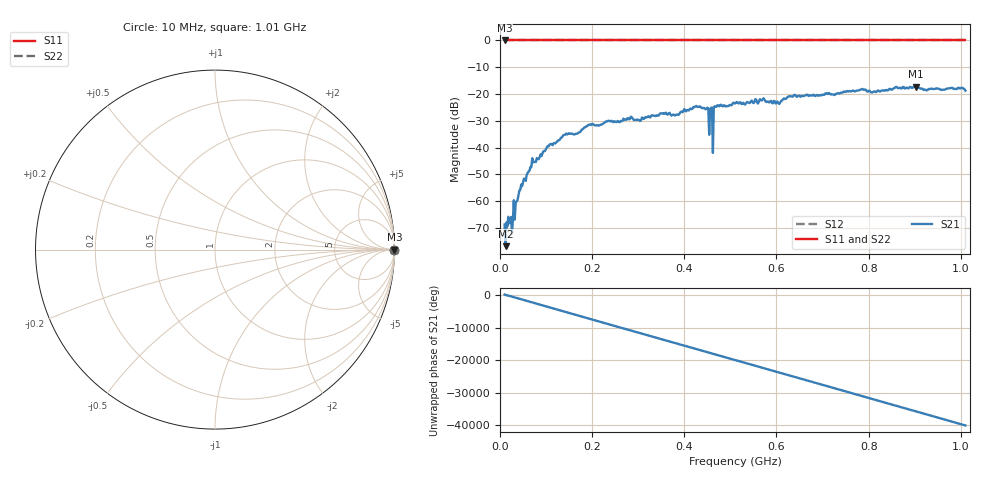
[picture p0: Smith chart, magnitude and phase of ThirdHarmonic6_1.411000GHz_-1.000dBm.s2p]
! 8/16/2025 4:10:56 PM
! C:\ANRITSUVNA\TEMP\TEMP.S2P
! CHANNEL.1
! TR.MEASUREMENT
! RAW.DATA
! RF.CORRECTION.OFF
! AVERAGING.OFF
! IF.BANDWIDTH: 5KHZ
! SWEEPTYPE:  FREQ.SWEEP(Linear)
! Reference Plane Port Info
! PORT:  PORT1  PORT2
! DISTANCE:  0  m  0  m
! TIME:  0  s  0  s
! PHASE.OFFSET:  0  deg.  0  deg.
! LOSS:  0  dB  0  dB
! REF.LOSS:  0  dB  0  dB
! REF.FREQ:  0  Hz  0  Hz
! Power Info
! POWER:  -20  dBm  -20  dBm
! EFF.POWER:  -20  dBm  -20  dBm
! SOURCE.ATTEN:  0  dB  0  dB
! TEST.ATTEN:  0  dB  0  dB
# GHZ S RI R 50.0
! FREQ.GHZ  S11RE  S11IM  S21RE  S21IM  S12RE  S12IM  S22RE  S22IM
!; PortSelection: Port_12
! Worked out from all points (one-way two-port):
!   501 points, 10 MHz to 1.01 GHz, reference 50 ohm
!   highest |S21| = -17.21 dB at 902 MHz (marker M1); lowest = -76.8 dB at 12 MHz (marker M2)
!   lowest |S11| = 0.0 dB at 10 MHz (marker M3)
!   |S11| at or under -10 dB: nowhere
!   |S22| runs from 0.0 to 0.0 dB; largest |S21 - S12| = 1.1
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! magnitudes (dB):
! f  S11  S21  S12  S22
! 10 MHz  0.0  -68.7  0.0  0.0
! 12 MHz  0.0  -76.8  0.0  0.0
! 24 MHz  0.0  -65.9  0.0  0.0
! 46 MHz  0.0  -53.8  0.0  0.0
! 70 MHz  0.0  -44.0  0.0  0.0
! 140 MHz  0.0  -35.2  0.0  0.0
! 178 MHz  0.0  -33.3  0.0  0.0
! 344 MHz  0.0  -28.1  0.0  0.0
! 430 MHz  0.0  -24.9  0.0  0.0
! 448 MHz  0.0  -25.6  0.0  0.0
! 450 MHz  0.0  -25.1  0.0  0.0
! 456 MHz  0.0  -25.8  0.0  0.0
! 458 MHz  0.0  -25.2  0.0  0.0
! 466 MHz  0.0  -24.6  0.0  0.0
! 468 MHz  0.0  -24.8  0.0  0.0
! 510 MHz  0.0  -23.5  0.0  0.0
! 602 MHz  0.0  -22.8  0.0  0.0
! 628 MHz  0.0  -20.8  0.0  0.0
! 678 MHz  0.0  -20.5  0.0  0.0
! 844 MHz  0.0  -18.3  0.0  0.0
! 902 MHz  0.0  -17.2  0.0  0.0
! 1.01 GHz  0.0  -18.7  0.0  0.0
